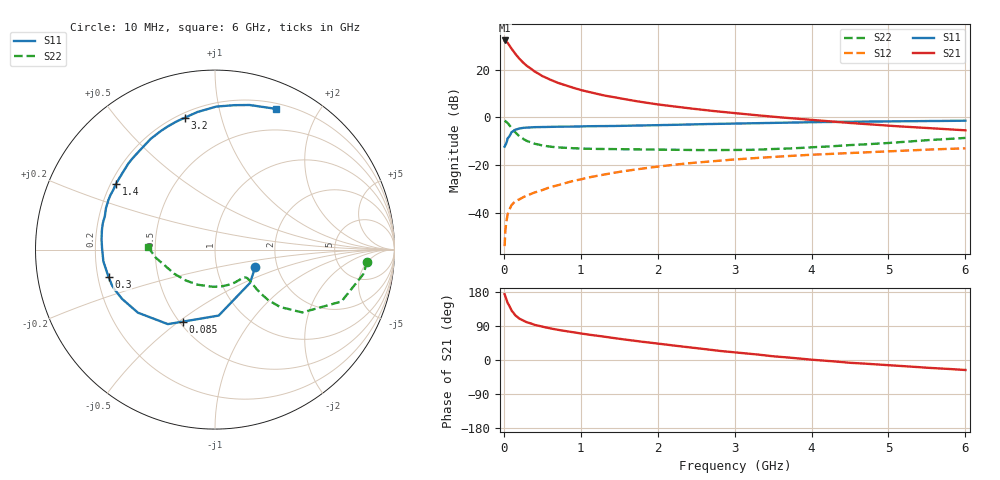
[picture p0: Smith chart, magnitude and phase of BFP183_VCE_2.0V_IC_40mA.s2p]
! Infineon Technologies  Discrete & RF Semiconductors
! BFP183
! VCE = 2.0 V,  IC =  40 mA
! Common Emitter S-Parameters:  Jan 2016
# GHz  S  MA  R  50
!  f  S11  S21  S12  S22
! GHz  MAG  ANG  MAG  ANG  MAG  ANG  MAG  ANG
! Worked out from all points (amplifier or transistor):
!   210 points, 10 MHz to 6 GHz, reference 50 ohm
!   highest |S21| = 32.3 dB at 10 MHz (marker M1)
!   |S21| within 3 dB of that: start of sweep to 90.62 MHz
!   unconditionally stable (mu >= 1): start of sweep to 15.97 MHz; 338.7 MHz to end of sweep
!   at 185 MHz: K = 0.73, MSG = 30.0 dB, |S12| = -34.6 dB
!   at 1.52 GHz: K = 1.42, MAG = 11.5 dB, |S12| = -22.7 dB
!   at 6 GHz: K = 1.11, MAG = 1.8 dB, |S12| = -13.0 dB
!   S11 on the Smith chart (normalised r, x): 10 MHz: 1.54, -0.31; 85 MHz: 0.52, -0.52; 300 MHz: 0.24, -0.12; 1.4 GHz: 0.22, +0.29; 3.2 GHz: 0.23, +0.77; 6 GHz: 0.26, +1.49
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0.01  0.244 -23.0  41.1 173.6  0.002 72.9  0.8518 -4.5
0.02  0.2693 -43.5  40.66 167.5  0.0043 76.1  0.8367 -9.5
0.05  0.3681 -86.8  36.6 150.1  0.0094 68.8  0.7614 -22.3
0.085  0.4385 -113.9  29.98 137.2  0.0129 57.4  0.6442 -31.0
0.1  0.4912 -122.3  27.76 130.0  0.0145 54.3  0.5998 -35.7
0.15  0.5549 -140.7  21.47 117.6  0.0175 48.6  0.4834 -41.4
0.2  0.5859 -152.0  17.14 109.4  0.0191 48.5  0.4056 -43.5
0.24  0.6018 -158.3  14.71 104.9  0.0208 48.9  0.3658 -43.8
0.3  0.6124 -165.6  12.03 99.5  0.023 50.1  0.321 -43.5
0.4  0.6255 -174.0  9.196 92.7  0.0267 53.1  0.2811 -42.4
0.5  0.6288 -179.9  7.376 87.7  0.03 54.2  0.2578 -41.7
0.6  0.6345 174.9  6.228 83.5  0.0344 57.0  0.244 -41.5
0.7  0.6393 170.3  5.329 79.7  0.0378 58.2  0.2354 -41.7
0.8  0.6421 166.8  4.703 76.3  0.042 58.9  0.2302 -42.4
1.02  0.6507 158.4  3.69 69.4  0.0511 59.9  0.2219 -45.2
1.4  0.6627 146.5  2.708 58.9  0.0678 58.9  0.2162 -52.2
2.02  0.6897 129.2  1.857 42.7  0.0939 54.1  0.2111 -67.4
3.1  0.7494 104.7  1.188 18.3  0.1349 43.6  0.2077 -102.2
3.2  0.7541 102.8  1.147 16.4  0.1383 42.6  0.2091 -105.8
4.1  0.7988 88.0  0.863 -0.7  0.168 33.9  0.2405 -136.8
5.1  0.8298 75.5  0.656 -14.9  0.1976 25.3  0.2989 -164.0
6  0.8545 66.6  0.537 -26.4  0.225 16.1  0.3722 178.0
